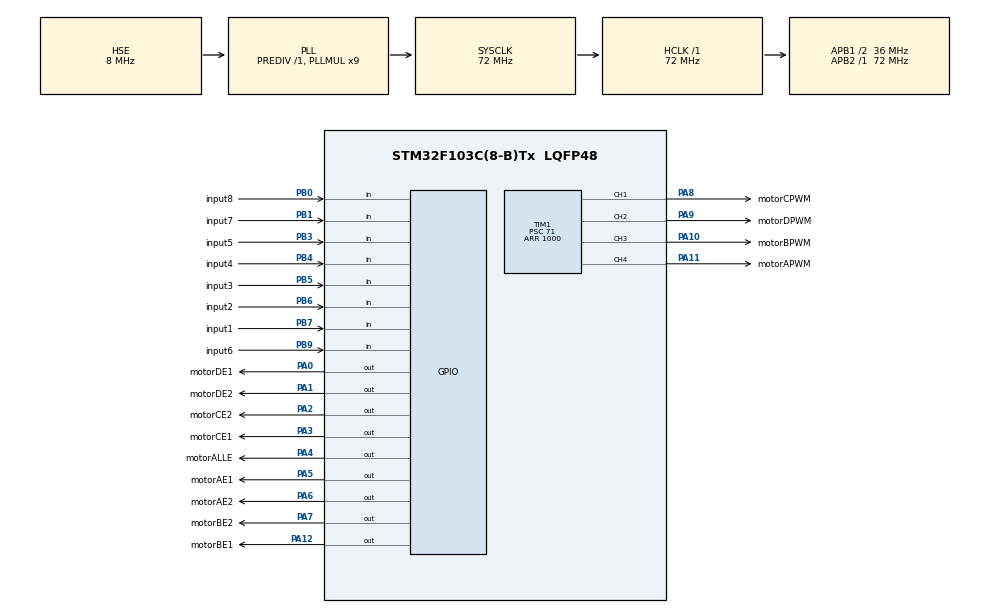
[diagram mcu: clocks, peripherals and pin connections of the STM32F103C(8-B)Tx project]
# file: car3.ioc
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Mcu.Family=STM32F1
Mcu.Name=STM32F103C(8-B)Tx
Mcu.Package=LQFP48
NVIC.PriorityGroup=NVIC_PRIORITYGROUP_4
NVIC.TIM2_IRQn=true\:0\:0\:false\:false\:true\:true\:true\:true
PA0-WKUP.GPIO_Label=motorDE1
PA0-WKUP.GPIO_ModeDefaultOutputPP=GPIO_MODE_OUTPUT_PP
PA0-WKUP.GPIO_PuPd=GPIO_NOPULL
PA0-WKUP.GPIO_Speed=GPIO_SPEED_FREQ_MEDIUM
PA0-WKUP.PinState=GPIO_PIN_RESET
PA0-WKUP.Signal=GPIO_Output
PA1.GPIO_Label=motorDE2
PA1.GPIO_ModeDefaultOutputPP=GPIO_MODE_OUTPUT_PP
PA1.GPIO_PuPd=GPIO_NOPULL
PA1.GPIO_Speed=GPIO_SPEED_FREQ_MEDIUM
PA1.PinState=GPIO_PIN_RESET
PA1.Signal=GPIO_Output
PA10.GPIO_Label=motorBPWM
PA10.Signal=S_TIM1_CH3
PA11.GPIO_Label=motorAPWM
PA11.Signal=S_TIM1_CH4
PA12.GPIO_Label=motorBE1
PA12.GPIO_ModeDefaultOutputPP=GPIO_MODE_OUTPUT_PP
PA12.GPIO_PuPd=GPIO_NOPULL
PA12.GPIO_Speed=GPIO_SPEED_FREQ_MEDIUM
PA12.PinState=GPIO_PIN_RESET
PA12.Signal=GPIO_Output
PA13.Mode=Serial_Wire
PA13.Signal=SYS_JTMS-SWDIO
PA14.Mode=Serial_Wire
PA14.Signal=SYS_JTCK-SWCLK
PA2.GPIO_Label=motorCE2
PA2.GPIO_ModeDefaultOutputPP=GPIO_MODE_OUTPUT_PP
PA2.GPIO_PuPd=GPIO_NOPULL
PA2.GPIO_Speed=GPIO_SPEED_FREQ_MEDIUM
PA2.PinState=GPIO_PIN_RESET
PA2.Signal=GPIO_Output
PA3.GPIO_Label=motorCE1
PA3.GPIO_ModeDefaultOutputPP=GPIO_MODE_OUTPUT_PP
PA3.GPIO_PuPd=GPIO_NOPULL
PA3.GPIO_Speed=GPIO_SPEED_FREQ_MEDIUM
PA3.PinState=GPIO_PIN_RESET
PA3.Signal=GPIO_Output
PA4.GPIO_Label=motorALLE
PA4.GPIO_ModeDefaultOutputPP=GPIO_MODE_OUTPUT_PP
PA4.GPIO_PuPd=GPIO_NOPULL
PA4.GPIO_Speed=GPIO_SPEED_FREQ_MEDIUM
PA4.PinState=GPIO_PIN_RESET
PA4.Signal=GPIO_Output
PA5.GPIO_Label=motorAE1
PA5.GPIO_ModeDefaultOutputPP=GPIO_MODE_OUTPUT_PP
PA5.GPIO_PuPd=GPIO_NOPULL
PA5.GPIO_Speed=GPIO_SPEED_FREQ_MEDIUM
PA5.PinState=GPIO_PIN_RESET
PA5.Signal=GPIO_Output
PA6.GPIO_Label=motorAE2
PA6.GPIO_ModeDefaultOutputPP=GPIO_MODE_OUTPUT_PP
PA6.GPIO_PuPd=GPIO_NOPULL
PA6.GPIO_Speed=GPIO_SPEED_FREQ_MEDIUM
PA6.PinState=GPIO_PIN_RESET
PA6.Signal=GPIO_Output
PA7.GPIO_Label=motorBE2
PA7.GPIO_ModeDefaultOutputPP=GPIO_MODE_OUTPUT_PP
PA7.GPIO_PuPd=GPIO_NOPULL
PA7.GPIO_Speed=GPIO_SPEED_FREQ_MEDIUM
PA7.PinState=GPIO_PIN_RESET
PA7.Signal=GPIO_Output
PA8.GPIO_Label=motorCPWM
PA8.Signal=S_TIM1_CH1
PA9.GPIO_Label=motorDPWM
PA9.Signal=S_TIM1_CH2
PB0.GPIO_Label=input8
PB0.GPIO_PuPd=GPIO_PULLDOWN
PB0.Signal=GPIO_Input
PB1.GPIO_Label=input7
PB1.GPIO_PuPd=GPIO_PULLDOWN
PB1.Signal=GPIO_Input
PB3.GPIO_Label=input5
PB3.GPIO_PuPd=GPIO_PULLDOWN
PB3.Signal=GPIO_Input
PB4.GPIO_Label=input4
PB4.GPIO_PuPd=GPIO_PULLDOWN
PB4.Signal=GPIO_Input
PB5.GPIO_Label=input3
PB5.GPIO_PuPd=GPIO_PULLDOWN
PB5.Signal=GPIO_Input
PB6.GPIO_Label=input2
PB6.GPIO_PuPd=GPIO_PULLDOWN
PB6.Signal=GPIO_Input
PB7.GPIO_Label=input1
PB7.Signal=GPIO_Input
PB9.GPIO_Label=input6
PB9.Signal=GPIO_Input
PD0-OSC_IN.Mode=HSE-External-Oscillator
PD0-OSC_IN.Signal=RCC_OSC_IN
PD1-OSC_OUT.Mode=HSE-External-Oscillator
PD1-OSC_OUT.Signal=RCC_OSC_OUT
ProjectManager.HeapSize=0x200
ProjectManager.StackSize=0x400
ProjectManager.TargetToolchain=MDK-ARM V5.32
RCC.AHBFreq_Value=72000000
RCC.APB1CLKDivider=RCC_HCLK_DIV2
RCC.APB1Freq_Value=36000000
RCC.APB1TimFreq_Value=72000000
RCC.APB2Freq_Value=72000000
RCC.APB2TimFreq_Value=72000000
RCC.HCLKFreq_Value=72000000
RCC.PLLMUL=RCC_PLL_MUL9
RCC.PLLSourceVirtual=RCC_PLLSOURCE_HSE
RCC.SYSCLKFreq_VALUE=72000000
RCC.SYSCLKSource=RCC_SYSCLKSOURCE_PLLCLK
RCC.USBFreq_Value=72000000
SH.S_TIM1_CH1.0=TIM1_CH1,PWM Generation1 CH1
SH.S_TIM1_CH2.0=TIM1_CH2,PWM Generation2 CH2
SH.S_TIM1_CH3.0=TIM1_CH3,PWM Generation3 CH3
SH.S_TIM1_CH4.0=TIM1_CH4,PWM Generation4 CH4
TIM1.AutoReloadPreload=TIM_AUTORELOAD_PRELOAD_ENABLE
TIM1.Channel-PWM\ Generation1\ CH1=TIM_CHANNEL_1
TIM1.Channel-PWM\ Generation2\ CH2=TIM_CHANNEL_2
TIM1.Channel-PWM\ Generation3\ CH3=TIM_CHANNEL_3
TIM1.Channel-PWM\ Generation4\ CH4=TIM_CHANNEL_4
TIM1.Period=1000
TIM1.Prescaler=71
TIM2.AutoReloadPreload=TIM_AUTORELOAD_PRELOAD_ENABLE
TIM2.Period=10
TIM2.Prescaler=7199
VP_TIM1_VS_ClockSourceINT.Mode=Internal
VP_TIM2_VS_ClockSourceINT.Mode=Internal
board=custom

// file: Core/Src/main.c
/* USER CODE BEGIN Header */
/**
  ******************************************************************************
  * @file           : main.c
  * @brief          : Main program body
  ******************************************************************************
  * @attention
  *
  * Copyright (c) 2026 STMicroelectronics.
  * All rights reserved.
  *
  * This software is licensed under terms that can be found in the LICENSE file
  * in the root directory of this software component.
  * If no LICENSE file comes with this software, it is provided AS-IS.
  *
  ******************************************************************************
  */
/* USER CODE END Header */
#include "main.h"
#include "tim.h"
#include "gpio.h"

/* USER CODE BEGIN PV */
uint16_t flag = 0;
//typedef struct{
//	uint16_t MOTORx;
//	uint8_t  z_f;
//	uint16_t speed;
//}MOTORdata;
//MOTORdata motor;

/* USER CODE END PV */

void SystemClock_Config(void);

/* USER CODE BEGIN 0 */
/***
   *MOTORx选择motor。1 = a 2= b 3 = c 4 = d
	 *A是左前轮，B是左后轮 C是右前轮 D是右后轮
	 *z_f是选择正反转1是正转，0是反转
	 *speed是占空比范围0~1000；
	 */
void MOTORx_z_f(uint8_t MOTORx,uint8_t z_f,uint16_t speed)
{
	switch(MOTORx)
	{
		case 1:
			__HAL_TIM_SET_COMPARE(&htim1, TIM_CHANNEL_1, speed);

			if(z_f == 1)
			{
				//A正转
				HAL_GPIO_WritePin(GPIOA,GPIO_PIN_5,GPIO_PIN_SET);
				HAL_GPIO_WritePin(GPIOA,GPIO_PIN_6,GPIO_PIN_RESET);
			}else//反转
			{
				HAL_GPIO_WritePin(GPIOA,GPIO_PIN_5,GPIO_PIN_RESET);
				HAL_GPIO_WritePin(GPIOA,GPIO_PIN_6,GPIO_PIN_SET);
			}break;
		case 2:
			__HAL_TIM_SET_COMPARE(&htim1, TIM_CHANNEL_2, speed);

			if(z_f == 1)
			{
				//正转b
				HAL_GPIO_WritePin(GPIOA,GPIO_PIN_12,GPIO_PIN_RESET);
				HAL_GPIO_WritePin(GPIOA,GPIO_PIN_7,GPIO_PIN_SET);
			}else
			{//反转
				HAL_GPIO_WritePin(GPIOA,GPIO_PIN_12,GPIO_PIN_SET);
				HAL_GPIO_WritePin(GPIOA,GPIO_PIN_7,GPIO_PIN_RESET);
			}break;
		case 3:
			__HAL_TIM_SET_COMPARE(&htim1, TIM_CHANNEL_3, speed);

			if(z_f == 1)
			{
				//正转c
				HAL_GPIO_WritePin(GPIOA,GPIO_PIN_3,GPIO_PIN_RESET);
				HAL_GPIO_WritePin(GPIOA,GPIO_PIN_2,GPIO_PIN_SET);
			}else
			{//反转
				HAL_GPIO_WritePin(GPIOA,GPIO_PIN_3,GPIO_PIN_SET);
				HAL_GPIO_WritePin(GPIOA,GPIO_PIN_2,GPIO_PIN_RESET);
			}break;
		case 4:
			__HAL_TIM_SET_COMPARE(&htim1, TIM_CHANNEL_4, speed);

			if(z_f == 1)
			{
				//正转d
				HAL_GPIO_WritePin(GPIOA,GPIO_PIN_0,GPIO_PIN_RESET);
				HAL_GPIO_WritePin(GPIOA,GPIO_PIN_1,GPIO_PIN_SET);
			}else
			{//反转
				HAL_GPIO_WritePin(GPIOA,GPIO_PIN_0,GPIO_PIN_SET);
				HAL_GPIO_WritePin(GPIOA,GPIO_PIN_1,GPIO_PIN_RESET);
			}break;
	}
}
/* USER CODE END 0 */

int main(void)
{

  /* MCU Configuration--------------------------------------------------------*/

  /* Reset of all peripherals, Initializes the Flash interface and the Systick. */
  HAL_Init();

  /* Configure the system clock */
  SystemClock_Config();

  /* Initialize all configured peripherals */
  MX_GPIO_Init();
  MX_TIM1_Init();
  MX_TIM2_Init();

  /* Infinite loop */
  /* USER CODE BEGIN WHILE */
	HAL_TIM_Base_Start(&htim1);

	HAL_TIM_PWM_Start(&htim1,TIM_CHANNEL_1);
	HAL_TIM_PWM_Start(&htim1,TIM_CHANNEL_2);
	HAL_TIM_PWM_Start(&htim1,TIM_CHANNEL_3);
	HAL_TIM_PWM_Start(&htim1,TIM_CHANNEL_4);

//	__HAL_TIM_MOE_ENABLE(&htim1);

	HAL_GPIO_WritePin(GPIOA,GPIO_PIN_4,GPIO_PIN_SET);//使能

  while (1)
  {
		MOTORx_z_f(1,1,1000);
		MOTORx_z_f(2,1,1000);
		MOTORx_z_f(3,0,1000);
		MOTORx_z_f(4,0,1000);

    /* USER CODE END WHILE */

  }
}

void SystemClock_Config(void)
{
  RCC_OscInitTypeDef RCC_OscInitStruct = {0};
  RCC_ClkInitTypeDef RCC_ClkInitStruct = {0};

  /** Initializes the RCC Oscillators according to the specified parameters
  * in the RCC_OscInitTypeDef structure.
  */
  RCC_OscInitStruct.OscillatorType = RCC_OSCILLATORTYPE_HSE;
  RCC_OscInitStruct.HSEState = RCC_HSE_ON;
  RCC_OscInitStruct.HSEPredivValue = RCC_HSE_PREDIV_DIV1;
  RCC_OscInitStruct.HSIState = RCC_HSI_ON;
  RCC_OscInitStruct.PLL.PLLState = RCC_PLL_ON;
  RCC_OscInitStruct.PLL.PLLSource = RCC_PLLSOURCE_HSE;
  RCC_OscInitStruct.PLL.PLLMUL = RCC_PLL_MUL9;
  if (HAL_RCC_OscConfig(&RCC_OscInitStruct) != HAL_OK)
  {
    Error_Handler();
  }

  /** Initializes the CPU, AHB and APB buses clocks
  */
  RCC_ClkInitStruct.ClockType = RCC_CLOCKTYPE_HCLK|RCC_CLOCKTYPE_SYSCLK
                              |RCC_CLOCKTYPE_PCLK1|RCC_CLOCKTYPE_PCLK2;
  RCC_ClkInitStruct.SYSCLKSource = RCC_SYSCLKSOURCE_PLLCLK;
  RCC_ClkInitStruct.AHBCLKDivider = RCC_SYSCLK_DIV1;
  RCC_ClkInitStruct.APB1CLKDivider = RCC_HCLK_DIV2;
  RCC_ClkInitStruct.APB2CLKDivider = RCC_HCLK_DIV1;

  if (HAL_RCC_ClockConfig(&RCC_ClkInitStruct, FLASH_LATENCY_2) != HAL_OK)
  {
    Error_Handler();
  }
}

/* USER CODE BEGIN 4 */
void HAL_TIM_PeriodElapsedCallback(TIM_HandleTypeDef *htim)
{
    if (htim->Instance == TIM2)  // TIM3定时中断
    {
			if(HAL_GPIO_ReadPin(GPIOB,GPIO_PIN_0) == SET)
				flag = 8;
			if(HAL_GPIO_ReadPin(GPIOB,GPIO_PIN_1) == SET)
				flag = 7;
			if(HAL_GPIO_ReadPin(GPIOB,GPIO_PIN_9) == SET)
				flag = 6;
			if(HAL_GPIO_ReadPin(GPIOB,GPIO_PIN_3) == SET)
				flag = 5;
			if(HAL_GPIO_ReadPin(GPIOB,GPIO_PIN_4) == SET)
				flag = 4;
			if(HAL_GPIO_ReadPin(GPIOB,GPIO_PIN_5) == SET)
				flag = 3;
			if(HAL_GPIO_ReadPin(GPIOB,GPIO_PIN_6) == SET)
				flag = 2;
			if(HAL_GPIO_ReadPin(GPIOB,GPIO_PIN_7) == SET)
				flag = 1;
		}
}
/* USER CODE END 4 */

void Error_Handler(void)
{
  __disable_irq();
  while (1)
  {
  }
}
